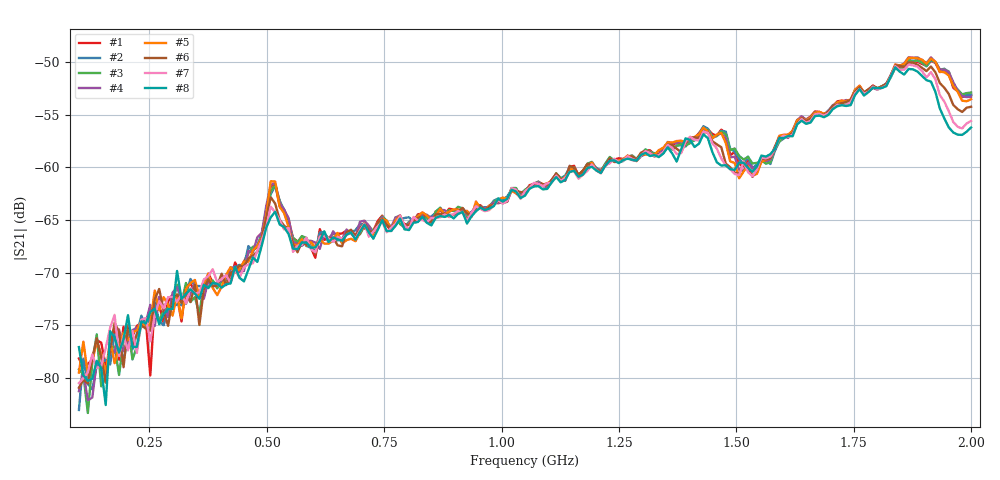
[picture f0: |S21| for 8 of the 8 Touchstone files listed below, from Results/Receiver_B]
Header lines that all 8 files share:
!Keysight Technologies,N5242B,MY48420967,A.15.65.19
!Correction: S11(C  1-Port  )
!S21(Off)
!S12(Off)
!S22(Off)
!S2P File: Measurements: S11, S21, S12, S22:
# Hz S  dB  R 50
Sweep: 100 MHz to 2 GHz
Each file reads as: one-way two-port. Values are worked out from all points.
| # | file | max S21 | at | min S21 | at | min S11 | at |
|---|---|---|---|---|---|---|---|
| 1 | S-ParamMeas20k_Receiver_B.s2p | -49.81 dB | 1.867 GHz | -79.8 dB | 252 MHz | -3.8 dB | 2 GHz |
| 2 | S-ParamMeas25k_Receiver_B.s2p | -49.84 dB | 1.915 GHz | -83.0 dB | 100 MHz | -3.7 dB | 2 GHz |
| 3 | S-ParamMeas30k_Receiver_B.s2p | -49.77 dB | 1.915 GHz | -83.3 dB | 119 MHz | -3.7 dB | 2 GHz |
| 4 | S-ParamMeas77k_Receiver_B.s2p | -49.55 dB | 1.867 GHz | -82.1 dB | 119 MHz | -3.8 dB | 2 GHz |
| 5 | S-ParamMeas100k_Receiver_B.s2p | -49.61 dB | 1.867 GHz | -79.7 dB | 119 MHz | -4.0 dB | 2 GHz |
| 6 | S-ParamMeas200k_Receiver_B.s2p | -50.05 dB | 1.867 GHz | -80.9 dB | 100 MHz | -4.5 dB | 1.924 GHz |
| 7 | S-ParamMeas250k_Receiver_B.s2p | -50.26 dB | 1.867 GHz | -80.5 dB | 100 MHz | -4.8 dB | 1.915 GHz |
| 8 | S-ParamMeas290k_Receiver_B.s2p | -50.52 dB | 1.839 GHz | -82.6 dB | 157 MHz | -5.1 dB | 1.915 GHz |
